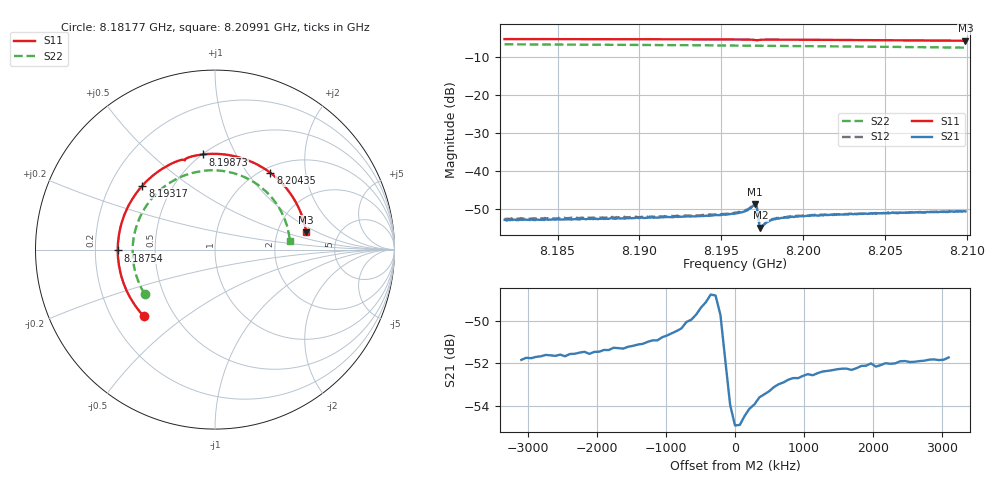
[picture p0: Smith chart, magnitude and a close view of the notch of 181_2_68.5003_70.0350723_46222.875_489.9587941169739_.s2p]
#  HZ  S  RI  R  50.00
! Rohde & Schwarz Vector Network Analyzer
! Rohde-Schwarz,ZNB20-2Port,1311601062101988,3.16
! Created: UTC 3/20/2024, 4:56:43 PM
! freq[Hz]  re:S11  im:S11  re:S21  im:S21  re:S12  im:S12  re:S22  im:S22
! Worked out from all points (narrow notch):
!   401 points, 8.18177 GHz to 8.20991 GHz, reference 50 ohm
!   highest |S21| = -48.75 dB at 8.19704 GHz (marker M1); lowest = -54.9 dB at 8.19739 GHz (marker M2)
!   notch at M2: 3.0 dB deep, 526 kHz wide at half that depth
!   lowest |S11| = -5.7 dB at 8.20991 GHz (marker M3), VSWR 3.14, Z = 146 + j38.3 ohm
!   |S11| at or under -10 dB: nowhere
!   |S22| runs from -7.5 to -6.7 dB; largest |S21 - S12| = 0.00019
!   S11 on the Smith chart (normalised r, x): 8.18177 GHz: 0.34, -0.35; 8.18754 GHz: 0.30, -0.00; 8.19317 GHz: 0.34, +0.34; 8.19873 GHz: 0.50, +0.75; 8.20435 GHz: 1.09, +1.29; 8.20991 GHz: 2.92, +0.77
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8.181769e9  -0.3982 -0.37  0.00131 -0.00186  0.00131 -0.00193  -0.3928 -0.2466
8.184231e9  -0.4929 -0.2281  0.000691 -0.00217  0.000713 -0.0023  -0.4452 -0.1205
8.186483e9  -0.5367 -0.0781  0.000102 -0.00233  5.36e-05 -0.00243  -0.459 0.00312
8.187538e9  -0.5419 -0.00451  -0.000212 -0.00233  -0.00027 -0.0024  -0.4538 0.0614
8.189368e9  -0.5272 0.1224  -0.00074 -0.00227  -0.000806 -0.00232  -0.4272 0.1592
8.191197e9  -0.483 0.2425  -0.00127 -0.00207  -0.00139 -0.00212  -0.3795 0.2486
8.193167e9  -0.4049 0.3562  -0.00181 -0.00177  -0.00192 -0.00173  -0.3072 0.3305
8.195841e9  -0.2567 0.4718  -0.00252 -0.00111  -0.00264 -0.00103  -0.1809 0.4092
8.196474e9  -0.2152 0.491  -0.00282 -0.000898  -0.00292 -0.000837  -0.1475 0.4213
8.197037e9  -0.1735 0.5004  -0.00365 5.35e-05  -0.00368 0.000233  -0.117 0.4296
8.197178e9  -0.1676 0.4972  -0.00306 0.00115  -0.00305 0.0013  -0.1094 0.4312
8.197389e9  -0.1615 0.5065  -0.00176 0.000346  -0.0018 0.000428  -0.0977 0.4338
8.197459e9  -0.1568 0.5095  -0.00179 0.000125  -0.00185 0.000189  -0.094 0.4345
8.197529e9  -0.1516 0.5119  -0.00189 -1.8e-05  -0.00191 3.01e-05  -0.0902 0.4353
8.198092e9  -0.1111 0.5234  -0.00225 -0.000232  -0.00232 -0.000138  -0.0586 0.4397
8.198725e9  -0.0661 0.5304  -0.00241 -9.03e-05  -0.00247 -1.46e-05  -0.0227 0.4418
8.200555e9  0.0632 0.5287  -0.00254 0.00052  -0.00257 0.000599  0.0804 0.4316
8.202525e9  0.1973 0.4919  -0.00239 0.00122  -0.00235 0.00132  0.1859 0.3934
8.204354e9  0.3091 0.4272  -0.00208 0.00182  -0.00202 0.00192  0.2731 0.3339
8.205269e9  0.3583 0.3849  -0.00185 0.00207  -0.00177 0.00215  0.3108 0.2962
8.207661e9  0.4587 0.2484  -0.00109 0.00265  -0.00101 0.0027  0.3854 0.1774
8.209913e9  0.508 0.0963  -0.000199 0.00292  -0.00013 0.00295  0.4169 0.0467
